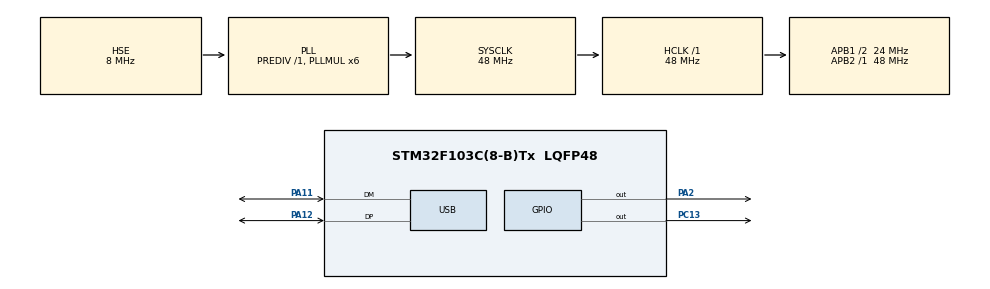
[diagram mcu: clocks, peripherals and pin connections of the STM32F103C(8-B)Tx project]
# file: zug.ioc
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Mcu.Family=STM32F1
Mcu.Name=STM32F103C(8-B)Tx
Mcu.Package=LQFP48
NVIC.PriorityGroup=NVIC_PRIORITYGROUP_4
NVIC.USB_LP_CAN1_RX0_IRQn=true\:0\:0\:false\:false\:true\:false\:true\:true
PA11.Mode=Device
PA11.Signal=USB_DM
PA12.Mode=Device
PA12.Signal=USB_DP
PA13.Mode=Serial_Wire
PA13.Signal=SYS_JTMS-SWDIO
PA14.Mode=Serial_Wire
PA14.Signal=SYS_JTCK-SWCLK
PA2.Signal=GPIO_Output
PC13-TAMPER-RTC.PinState=GPIO_PIN_SET
PC13-TAMPER-RTC.Signal=GPIO_Output
PD0-OSC_IN.Mode=HSE-External-Oscillator
PD0-OSC_IN.Signal=RCC_OSC_IN
PD1-OSC_OUT.Mode=HSE-External-Oscillator
PD1-OSC_OUT.Signal=RCC_OSC_OUT
ProjectManager.HeapSize=0x800
ProjectManager.StackSize=0x200
ProjectManager.TargetToolchain=STM32CubeIDE
RCC.AHBFreq_Value=48000000
RCC.APB1CLKDivider=RCC_HCLK_DIV2
RCC.APB1Freq_Value=24000000
RCC.APB1TimFreq_Value=48000000
RCC.APB2Freq_Value=48000000
RCC.APB2TimFreq_Value=48000000
RCC.HCLKFreq_Value=48000000
RCC.PLLMUL=RCC_PLL_MUL6
RCC.SYSCLKFreq_VALUE=48000000
RCC.SYSCLKSource=RCC_SYSCLKSOURCE_PLLCLK
RCC.USBFreq_Value=48000000
USB_DEVICE.CLASS_NAME_FS=CDC
USB_DEVICE.VirtualMode=Cdc
USB_DEVICE.VirtualModeFS=Cdc_FS
VP_USB_DEVICE_VS_USB_DEVICE_CDC_FS.Mode=CDC_FS
board=custom

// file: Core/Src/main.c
/* USER CODE BEGIN Header */
/**
  ******************************************************************************
  * @file           : main.c
  * @brief          : Main program body
  ******************************************************************************
  * @attention
  *
  * Copyright (c) 2022 STMicroelectronics.
  * All rights reserved.
  *
  * This software is licensed under terms that can be found in the LICENSE file
  * in the root directory of this software component.
  * If no LICENSE file comes with this software, it is provided AS-IS.
  *
  ******************************************************************************
  */
/* USER CODE END Header */
#include "main.h"
#include "usb_device.h"

/* USER CODE BEGIN Includes */
#include "min.h"
#include "circus.h"
/* USER CODE END Includes */

/* USER CODE BEGIN PD */
#define MAIN_BUF_SIZE 1000
#define SMALL_BUF_SIZE 32
/* USER CODE END PD */

void SystemClock_Config(void);
static void MX_GPIO_Init(void);
/* USER CODE BEGIN PFP */
void initialise_monitor_handles(void);
/* USER CODE END PFP */

/* USER CODE BEGIN 0 */

#ifndef NO_MIN
/* MIN callbacks: */

// Tell MIN how much space there is to write to the serial port. This is used
// inside MIN to decide whether to bother sending a frame or not.
uint16_t min_tx_space(uint8_t _port)
{
  uint16_t n = l_circus_vcp_send_available();
  return n;
}

// Send a character on the designated port.
void min_tx_byte(uint8_t _port, uint8_t byte)
{
  l_circus_vcp_send(&byte, 1U);
}

// Tell MIN the current time in milliseconds.
uint32_t min_time_ms(void)
{
  return HAL_GetTick();
}

void min_application_handler(uint8_t min_id, uint8_t const *min_payload, uint8_t len_payload, uint8_t port)
{
  // In this simple example application we just echo the frame back when we get one
  bool result = min_queue_frame(&min_ctx, min_id, min_payload, len_payload);
  if(!result) {
    //printf("Queue failed\n");
  }
}

void min_tx_start(uint8_t _port)
{

}

void min_tx_finished(uint8_t _port)
{

}

#endif

/* USER CODE END 0 */

int main(void)
{

  /* MCU Configuration--------------------------------------------------------*/

  /* Reset of all peripherals, Initializes the Flash interface and the Systick. */
  HAL_Init();

  /* Configure the system clock */
  SystemClock_Config();

  /* Initialize all configured peripherals */
  MX_GPIO_Init();
  MX_USB_DEVICE_Init();
  /* USER CODE BEGIN 2 */
  //initialise_monitor_handles();
  /* USER CODE END 2 */

  /* Infinite loop */
  /* USER CODE BEGIN WHILE */
  uint8_t buf[MAIN_BUF_SIZE];
  unsigned int toggle_count = 0;
  while (1)
  {
    /* USER CODE END WHILE */

    /* USER CODE BEGIN 3 */
    if (toggle_count % 100000 == 0)
    {
      HAL_GPIO_TogglePin(GPIOC, GPIO_PIN_13);
      HAL_GPIO_TogglePin(GPIOA, GPIO_PIN_2);
    }
#ifndef NO_MIN
    uint8_t small_buf[SMALL_BUF_SIZE];
    int buf_len = l_circus_vcp_recv(small_buf, SMALL_BUF_SIZE);
    //printf("buf_len: %d\n", buf_len);

    min_poll(&min_ctx, (uint8_t *)buf, (uint8_t)buf_len);
#else
    // VCP demonstration - Echo all data received over VCP back to the host
    int len = l_circus_vcp_recv(buf, MAIN_BUF_SIZE);  // Read up to 1000 bytes
    if (len > 0)    // If some data was read, send it back :
      len = l_circus_vcp_send(buf, len);
#endif

    toggle_count++;
  }
  /* USER CODE END 3 */
}

void SystemClock_Config(void)
{
  RCC_OscInitTypeDef RCC_OscInitStruct = {0};
  RCC_ClkInitTypeDef RCC_ClkInitStruct = {0};
  RCC_PeriphCLKInitTypeDef PeriphClkInit = {0};

  /** Initializes the RCC Oscillators according to the specified parameters
  * in the RCC_OscInitTypeDef structure.
  */
  RCC_OscInitStruct.OscillatorType = RCC_OSCILLATORTYPE_HSE;
  RCC_OscInitStruct.HSEState = RCC_HSE_ON;
  RCC_OscInitStruct.HSEPredivValue = RCC_HSE_PREDIV_DIV1;
  RCC_OscInitStruct.HSIState = RCC_HSI_ON;
  RCC_OscInitStruct.PLL.PLLState = RCC_PLL_ON;
  RCC_OscInitStruct.PLL.PLLSource = RCC_PLLSOURCE_HSE;
  RCC_OscInitStruct.PLL.PLLMUL = RCC_PLL_MUL6;
  if (HAL_RCC_OscConfig(&RCC_OscInitStruct) != HAL_OK)
  {
    Error_Handler();
  }

  /** Initializes the CPU, AHB and APB buses clocks
  */
  RCC_ClkInitStruct.ClockType = RCC_CLOCKTYPE_HCLK|RCC_CLOCKTYPE_SYSCLK
                              |RCC_CLOCKTYPE_PCLK1|RCC_CLOCKTYPE_PCLK2;
  RCC_ClkInitStruct.SYSCLKSource = RCC_SYSCLKSOURCE_PLLCLK;
  RCC_ClkInitStruct.AHBCLKDivider = RCC_SYSCLK_DIV1;
  RCC_ClkInitStruct.APB1CLKDivider = RCC_HCLK_DIV2;
  RCC_ClkInitStruct.APB2CLKDivider = RCC_HCLK_DIV1;

  if (HAL_RCC_ClockConfig(&RCC_ClkInitStruct, FLASH_LATENCY_1) != HAL_OK)
  {
    Error_Handler();
  }
  PeriphClkInit.PeriphClockSelection = RCC_PERIPHCLK_USB;
  PeriphClkInit.UsbClockSelection = RCC_USBCLKSOURCE_PLL;
  if (HAL_RCCEx_PeriphCLKConfig(&PeriphClkInit) != HAL_OK)
  {
    Error_Handler();
  }
}

static void MX_GPIO_Init(void)
{
  GPIO_InitTypeDef GPIO_InitStruct = {0};

  /* GPIO Ports Clock Enable */
  __HAL_RCC_GPIOC_CLK_ENABLE();
  __HAL_RCC_GPIOD_CLK_ENABLE();
  __HAL_RCC_GPIOA_CLK_ENABLE();

  /*Configure GPIO pin Output Level */
  HAL_GPIO_WritePin(GPIOC, GPIO_PIN_13, GPIO_PIN_SET);

  /*Configure GPIO pin Output Level */
  HAL_GPIO_WritePin(GPIOA, GPIO_PIN_2, GPIO_PIN_RESET);

  /*Configure GPIO pin : PC13 */
  GPIO_InitStruct.Pin = GPIO_PIN_13;
  GPIO_InitStruct.Mode = GPIO_MODE_OUTPUT_PP;
  GPIO_InitStruct.Pull = GPIO_NOPULL;
  GPIO_InitStruct.Speed = GPIO_SPEED_FREQ_LOW;
  HAL_GPIO_Init(GPIOC, &GPIO_InitStruct);

  /*Configure GPIO pin : PA2 */
  GPIO_InitStruct.Pin = GPIO_PIN_2;
  GPIO_InitStruct.Mode = GPIO_MODE_OUTPUT_PP;
  GPIO_InitStruct.Pull = GPIO_NOPULL;
  GPIO_InitStruct.Speed = GPIO_SPEED_FREQ_LOW;
  HAL_GPIO_Init(GPIOA, &GPIO_InitStruct);

}

void Error_Handler(void)
{
  __disable_irq();
  while (1)
  {
  }
}
